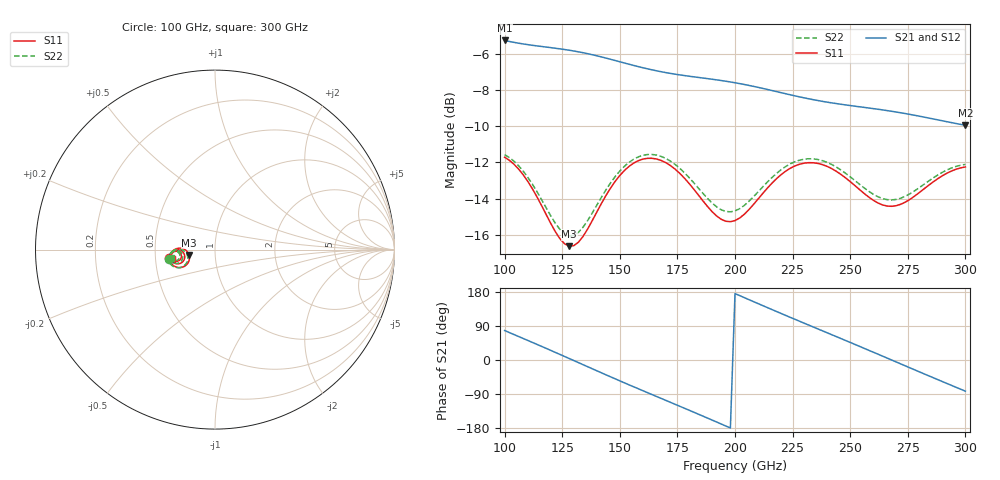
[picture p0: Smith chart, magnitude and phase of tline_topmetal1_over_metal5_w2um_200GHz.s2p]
#  GHZ S DB R 50
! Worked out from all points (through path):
!   101 points, 100 GHz to 300 GHz, reference 50 ohm
!   highest |S21| = -5.26 dB at 100 GHz (marker M1); lowest = -9.9 dB at 300 GHz (marker M2)
!   group delay of S21, straight-line fit = 7.22 ps
!   lowest |S11| = -16.6 dB at 128 GHz (marker M3), VSWR 1.35, Z = 37.3 - j2.29 ohm
!   |S11| at or under -10 dB: start of sweep to end of sweep
!   |S22| runs from -16.1 to -11.6 dB; largest |S21 - S12| = 8.1e-14
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100  -11.71 -170.0  -5.26 77.7  -5.26 77.7  -11.57 -168.9
108  -12.67 -178.8  -5.45 57.0  -5.45 57.0  -12.47 -177.2
116  -14.37 177.6  -5.59 36.1  -5.59 36.1  -14.05 179.5
128  -16.63 -168.3  -5.80 4.0  -5.80 4.0  -16.06 -167.6
134  -16.10 -157.1  -5.94 -12.2  -5.94 -12.2  -15.59 -157.6
144  -13.83 -151.5  -6.23 -39.1  -6.23 -39.1  -13.51 -152.4
152  -12.45 -156.1  -6.51 -60.2  -6.51 -60.2  -12.21 -156.6
160  -11.82 -163.7  -6.77 -81.0  -6.77 -81.0  -11.61 -163.7
168  -11.89 -171.6  -6.99 -101.5  -6.99 -101.5  -11.67 -171.2
176  -12.60 -177.7  -7.16 -122.0  -7.16 -122.0  -12.32 -176.9
186  -14.11 -179.4  -7.33 -147.9  -7.33 -147.9  -13.70 -178.4
200  -15.21 -166.1  -7.60 175.3  -7.60 175.3  -14.68 -166.8
208  -14.33 -159.4  -7.80 154.2  -7.80 154.2  -13.90 -160.8
218  -12.90 -159.5  -8.09 128.0  -8.09 128.0  -12.61 -160.9
226  -12.19 -164.0  -8.32 107.4  -8.32 107.4  -11.96 -165.0
234  -12.02 -169.6  -8.53 87.1  -8.53 87.1  -11.80 -170.4
242  -12.34 -174.7  -8.71 66.7  -8.71 66.7  -12.12 -175.1
252  -13.28 -177.6  -8.89 41.2  -8.89 41.2  -13.00 -177.9
268  -14.42 -169.8  -9.17 -0.1  -9.17 -0.1  -14.07 -170.8
276  -14.03 -164.6  -9.35 -20.8  -9.35 -20.8  -13.73 -166.0
286  -13.08 -163.0  -9.60 -46.6  -9.60 -46.6  -12.86 -164.5
300  -12.25 -168.1  -9.95 -82.3  -9.95 -82.3  -12.11 -169.4
